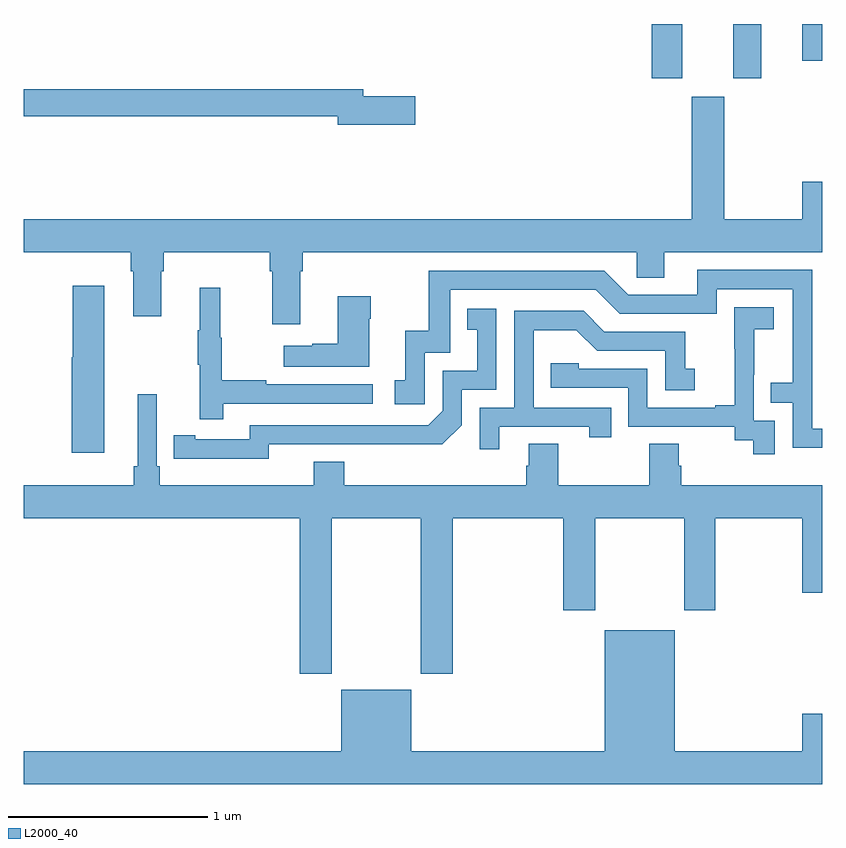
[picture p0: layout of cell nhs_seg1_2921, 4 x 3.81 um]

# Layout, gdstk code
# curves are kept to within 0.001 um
import gdstk
lib = gdstk.Library(unit=1e-6, precision=1e-09)
def R(c, l, rs):  # rectangles x0, y0, x1, y1
    for r in rs: c.add(gdstk.rectangle(r[:2], r[2:], *l))
def P(c, l, *ps):  # polygons
    for p in ps: c.add(gdstk.Polygon(p, *l))
L2000_40 = (2000, 40)

nhs_seg1_2921 = lib.new_cell('nhs_seg1_2921')
R(nhs_seg1_2921, L2000_40, [(272.147,561.927,272.299,562.199), (272.555,561.927,272.695,562.199), (272.9,562.014,273,562.199)])
P(nhs_seg1_2921, L2000_40, [(270.961,561.836),(270.7,561.836),(270.7,561.872),(269,561.872),(269,561.736),(270.572,561.736),(270.572,561.694),(270.961,561.694)],
  [(270.385,560.96),(270.398,560.96),(270.398,561.056),(272.07,561.056),(272.07,560.929),(272.209,560.929),(272.209,561.056),(273,561.056),(273,561.409),(272.9,561.409),(272.9,561.22),(272.509,561.22),(272.509,561.835),(272.345,561.835),(272.345,561.22),(269,561.22),(269,561.056),(269.537,561.056),(269.537,560.96),(269.549,560.96),(269.549,560.736),(269.689,560.736),(269.689,560.96),(269.702,560.96),(269.702,561.056),(270.233,561.056),(270.233,560.96),(270.245,560.96),(270.245,560.694),(270.385,560.694)],
  [(273,560.172),(272.949,560.172),(272.949,560.967),(272.375,560.967),(272.375,560.844),(272.028,560.844),(271.908,560.964),(271.029,560.964),(271.029,560.662),(270.911,560.662),(270.911,560.415),(270.858,560.415),(270.858,560.295),(271.008,560.295),(271.008,560.553),(271.137,560.553),(271.137,560.868),(271.866,560.868),(271.986,560.748),(272.472,560.748),(272.472,560.871),(272.853,560.871),(272.853,560.402),(272.743,560.402),(272.743,560.301),(272.853,560.301),(272.853,560.076),(273,560.076)],
  [(269.404,560.887),(269.246,560.887),(269.246,560.529),(269.24,560.529),(269.24,560.052),(269.404,560.052)],
  [(269.999,560.298),(270.748,560.298),(270.748,560.394),(270.215,560.394),(270.215,560.414),(269.992,560.414),(269.992,560.628),(269.984,560.628),(269.984,560.878),(269.882,560.878),(269.882,560.665),(269.871,560.665),(269.871,560.491),(269.882,560.491),(269.882,560.22),(269.999,560.22)],
  [(270.73,560.723),(270.738,560.723),(270.738,560.836),(270.572,560.836),(270.572,560.597),(270.446,560.597),(270.446,560.587),(270.303,560.587),(270.303,560.483),(270.73,560.483)],
  [(272.763,560.211),(272.658,560.211),(272.658,560.441),(272.66,560.441),(272.66,560.669),(272.758,560.669),(272.758,560.779),(272.56,560.779),(272.56,560.573),(272.561,560.573),(272.561,560.29),(272.465,560.29),(272.465,560.277),(272.124,560.277),(272.124,560.472),(271.779,560.472),(271.779,560.499),(271.639,560.499),(271.639,560.376),(272.028,560.376),(272.028,560.181),(272.562,560.181),(272.562,560.113),(272.655,560.113),(272.655,560.043),(272.763,560.043)],
  [(270.228,560.094),(271.096,560.093),(271.194,560.19),(271.194,560.367),(271.368,560.367),(271.368,560.773),(271.222,560.773),(271.222,560.667),(271.271,560.667),(271.271,560.463),(271.098,560.463),(271.098,560.262),(271.026,560.19),(270.132,560.19),(270.132,560.118),(269.86,560.118),(269.86,560.138),(269.752,560.138),(269.752,560.022),(270.228,560.021)],
  [(271.381,560.181),(271.832,560.181),(271.832,560.13),(271.943,560.13),(271.943,560.277),(271.554,560.277),(271.554,560.666),(271.768,560.666),(271.872,560.562),(272.214,560.562),(272.214,560.364),(272.362,560.364),(272.362,560.473),(272.313,560.473),(272.313,560.658),(271.909,560.658),(271.804,560.763),(271.458,560.763),(271.458,560.277),(271.284,560.277),(271.284,560.07),(271.381,560.07)],
  [(270.543,559.724),(270.988,559.724),(270.988,558.945),(271.148,558.945),(271.148,559.724),(271.703,559.724),(271.703,559.263),(271.863,559.263),(271.863,559.724),(272.308,559.724),(272.308,559.263),(272.463,559.263),(272.463,559.724),(272.9,559.724),(272.9,559.35),(273,559.35),(273,559.888),(272.294,559.888),(272.294,559.986),(272.281,559.986),(272.281,560.096),(272.134,560.096),(272.134,559.888),(271.677,559.888),(271.677,560.096),(271.529,560.096),(271.529,559.986),(271.517,559.986),(271.517,559.888),(270.605,559.888),(270.605,560.005),(270.452,560.005),(270.452,559.888),(269.681,559.888),(269.681,559.984),(269.667,559.984),(269.667,560.344),(269.57,560.344),(269.57,559.984),(269.551,559.984),(269.551,559.888),(269,559.888),(269,559.724),(270.383,559.724),(270.383,558.945),(270.543,558.945)],
  [(273,558.745),(272.9,558.745),(272.9,558.556),(272.26,558.556),(272.26,559.162),(271.91,559.162),(271.91,558.556),(270.94,558.556),(270.94,558.865),(270.59,558.865),(270.59,558.556),(269,558.556),(269,558.392),(273,558.392)])

lib.write_gds('nhs_seg1_2921.gds')
